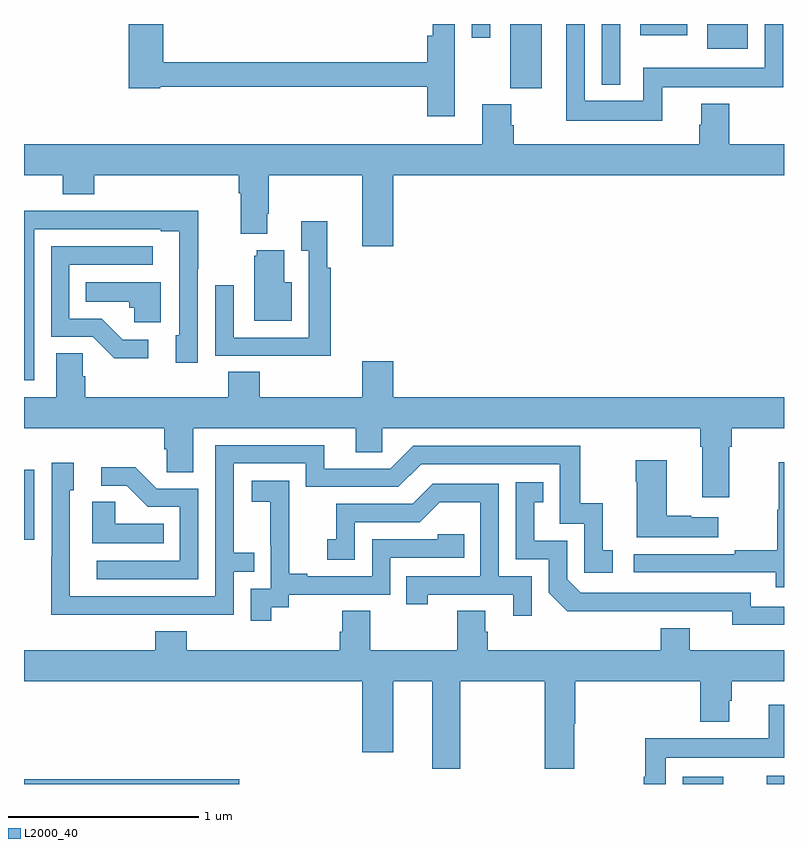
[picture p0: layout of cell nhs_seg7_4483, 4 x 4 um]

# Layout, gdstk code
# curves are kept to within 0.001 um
import gdstk
lib = gdstk.Library(unit=1e-6, precision=1e-09)
def R(c, l, rs):  # rectangles x0, y0, x1, y1
    for r in rs: c.add(gdstk.rectangle(r[:2], r[2:], *l))
def P(c, l, *ps):  # polygons
    for p in ps: c.add(gdstk.Polygon(p, *l))
L2000_40 = (2000, 40)

nhs_seg7_4483 = lib.new_cell('nhs_seg7_4483')
R(nhs_seg7_4483, L2000_40, [(391,1076,392.134,1076.024), (394.466,1076,394.681,1076.038), (394.91,1076,395,1076.044), (391,1077.285,391.053,1077.654), (393.56,1079.662,393.724,1080), (394.041,1079.681,394.137,1080), (394.595,1079.87,394.81,1080), (393.357,1079.928,393.453,1080), (394.244,1079.942,394.492,1080)])
P(nhs_seg7_4483, L2000_40, [(393.268,1079.775),(393.267,1079.775),(393.267,1080),(393.151,1080),(393.151,1079.938),(393.122,1079.938),(393.122,1079.798),(391.733,1079.798),(391.733,1080),(391.55,1080),(391.55,1079.662),(391.716,1079.662),(391.716,1079.67),(393.122,1079.67),(393.122,1079.514),(393.268,1079.514)],
  [(394.358,1079.666),(394.996,1079.666),(394.996,1080),(394.899,1080),(394.899,1079.77),(394.26,1079.77),(394.26,1079.596),(393.951,1079.596),(393.951,1080),(393.854,1080),(393.854,1079.492),(394.358,1079.492)],
  [(391,1079.204),(391.205,1079.204),(391.205,1079.105),(391.37,1079.105),(391.37,1079.204),(392.129,1079.204),(392.129,1079.108),(392.141,1079.108),(392.141,1078.895),(392.281,1078.895),(392.281,1079.002),(392.289,1079.002),(392.289,1079.204),(392.78,1079.204),(392.78,1078.83),(392.944,1078.83),(392.944,1079.204),(395,1079.204),(395,1079.368),(394.713,1079.368),(394.713,1079.581),(394.565,1079.581),(394.565,1079.469),(394.553,1079.469),(394.553,1079.368),(393.578,1079.368),(393.578,1079.468),(393.565,1079.468),(393.565,1079.577),(393.413,1079.577),(393.413,1079.368),(391,1079.368)],
  [(391.053,1078.92),(391.721,1078.92),(391.721,1078.908),(391.818,1078.908),(391.818,1078.362),(391.799,1078.362),(391.799,1078.218),(391.914,1078.218),(391.914,1078.711),(391.917,1078.711),(391.917,1079.018),(391.453,1079.018),(391.453,1079.016),(391,1079.016),(391,1078.125),(391.053,1078.125)],
  [(392.615,1078.718),(392.597,1078.718),(392.597,1078.963),(392.459,1078.963),(392.459,1078.807),(392.499,1078.807),(392.499,1078.35),(392.103,1078.35),(392.103,1078.624),(392.007,1078.624),(392.007,1078.254),(392.323,1078.254),(392.323,1078.253),(392.615,1078.253)],
  [(391.654,1078.338),(391.519,1078.338),(391.408,1078.449),(391.239,1078.449),(391.239,1078.734),(391.678,1078.734),(391.678,1078.83),(391.143,1078.83),(391.143,1078.353),(391.362,1078.353),(391.475,1078.241),(391.654,1078.241)],
  [(392.41,1078.642),(392.371,1078.642),(392.371,1078.81),(392.225,1078.81),(392.225,1078.779),(392.213,1078.779),(392.213,1078.439),(392.41,1078.439)],
  [(391.72,1078.642),(391.324,1078.642),(391.324,1078.538),(391.555,1078.538),(391.555,1078.506),(391.581,1078.506),(391.581,1078.43),(391.72,1078.43)],
  [(394.711,1077.776),(394.724,1077.776),(394.724,1077.872),(395,1077.872),(395,1078.036),(392.944,1078.036),(392.944,1078.225),(392.78,1078.225),(392.78,1078.036),(392.24,1078.036),(392.24,1078.169),(392.075,1078.169),(392.075,1078.036),(391.322,1078.036),(391.322,1078.145),(391.308,1078.145),(391.308,1078.268),(391.169,1078.268),(391.169,1078.036),(391,1078.036),(391,1077.872),(391.739,1077.872),(391.739,1077.763),(391.752,1077.763),(391.752,1077.64),(391.891,1077.64),(391.891,1077.872),(392.747,1077.872),(392.747,1077.745),(392.886,1077.745),(392.886,1077.872),(394.559,1077.872),(394.559,1077.776),(394.571,1077.776),(394.571,1077.51),(394.711,1077.51)],
  [(391.607,1076.892),(392.103,1076.892),(392.103,1077.117),(392.213,1077.117),(392.213,1077.218),(392.103,1077.218),(392.103,1077.687),(392.484,1077.687),(392.484,1077.564),(392.97,1077.564),(393.09,1077.684),(393.819,1077.684),(393.819,1077.369),(393.948,1077.369),(393.948,1077.111),(394.099,1077.111),(394.099,1077.231),(394.046,1077.231),(394.046,1077.478),(393.928,1077.478),(393.928,1077.78),(393.048,1077.78),(392.928,1077.66),(392.581,1077.66),(392.581,1077.783),(392.007,1077.783),(392.007,1076.988),(391.242,1076.988),(391.242,1077.546),(391.261,1077.546),(391.261,1077.691),(391.146,1077.691),(391.146,1077.197),(391.144,1077.197),(391.144,1076.891)],
  [(394.654,1077.403),(394.511,1077.403),(394.511,1077.413),(394.384,1077.413),(394.384,1077.703),(394.219,1077.703),(394.219,1077.59),(394.226,1077.59),(394.226,1077.299),(394.654,1077.299)],
  [(395,1077.694),(394.972,1077.694),(394.972,1077.444),(394.965,1077.444),(394.965,1077.23),(394.741,1077.23),(394.741,1077.21),(394.209,1077.21),(394.209,1077.114),(394.957,1077.114),(394.957,1077.036),(395,1077.036)],
  [(391.917,1077.555),(391.698,1077.555),(391.585,1077.668),(391.407,1077.668),(391.407,1077.57),(391.541,1077.57),(391.652,1077.459),(391.821,1077.459),(391.821,1077.174),(391.383,1077.174),(391.383,1077.078),(391.917,1077.078)],
  [(392.302,1076.929),(392.394,1076.929),(392.394,1076.997),(392.928,1076.997),(392.928,1077.192),(393.317,1077.192),(393.317,1077.315),(393.177,1077.315),(393.177,1077.288),(392.832,1077.288),(392.832,1077.093),(392.491,1077.093),(392.491,1077.106),(392.396,1077.106),(392.396,1077.389),(392.397,1077.389),(392.397,1077.595),(392.199,1077.595),(392.199,1077.485),(392.297,1077.485),(392.297,1077.257),(392.298,1077.257),(392.298,1077.027),(392.193,1077.027),(392.193,1076.859),(392.302,1076.859)],
  [(395,1076.934),(394.824,1076.934),(394.824,1077.006),(393.93,1077.006),(393.858,1077.078),(393.858,1077.279),(393.685,1077.279),(393.685,1077.483),(393.734,1077.483),(393.734,1077.589),(393.588,1077.589),(393.588,1077.183),(393.762,1077.183),(393.762,1077.006),(393.86,1076.909),(394.728,1076.91),(394.728,1076.837),(395,1076.837)],
  [(393.672,1077.093),(393.498,1077.093),(393.498,1077.579),(393.152,1077.579),(393.047,1077.474),(392.644,1077.474),(392.644,1077.289),(392.595,1077.289),(392.595,1077.18),(392.742,1077.18),(392.742,1077.378),(393.084,1077.378),(393.188,1077.482),(393.402,1077.482),(393.402,1077.093),(393.013,1077.093),(393.013,1076.946),(393.124,1076.946),(393.124,1076.997),(393.575,1076.997),(393.575,1076.886),(393.672,1076.886)],
  [(391.736,1077.37),(391.479,1077.37),(391.479,1077.485),(391.358,1077.485),(391.358,1077.266),(391.736,1077.266)],
  [(393.297,1076.54),(393.742,1076.54),(393.742,1076.079),(393.897,1076.079),(393.897,1076.318),(393.902,1076.318),(393.902,1076.54),(394.559,1076.54),(394.559,1076.327),(394.711,1076.327),(394.711,1076.439),(394.724,1076.439),(394.724,1076.54),(395,1076.54),(395,1076.704),(394.504,1076.704),(394.504,1076.821),(394.352,1076.821),(394.352,1076.704),(393.44,1076.704),(393.44,1076.802),(393.427,1076.802),(393.427,1076.912),(393.28,1076.912),(393.28,1076.704),(392.823,1076.704),(392.823,1076.912),(392.675,1076.912),(392.675,1076.802),(392.663,1076.802),(392.663,1076.704),(391.856,1076.704),(391.856,1076.803),(391.691,1076.803),(391.691,1076.704),(391,1076.704),(391,1076.54),(392.78,1076.54),(392.78,1076.166),(392.944,1076.166),(392.944,1076.54),(393.149,1076.54),(393.149,1076.079),(393.297,1076.079)],
  [(394.377,1076.138),(395,1076.138),(395,1076.416),(394.919,1076.416),(394.919,1076.242),(394.269,1076.242),(394.269,1076.038),(394.261,1076.038),(394.261,1076),(394.377,1076)])

lib.write_gds('nhs_seg7_4483.gds')
